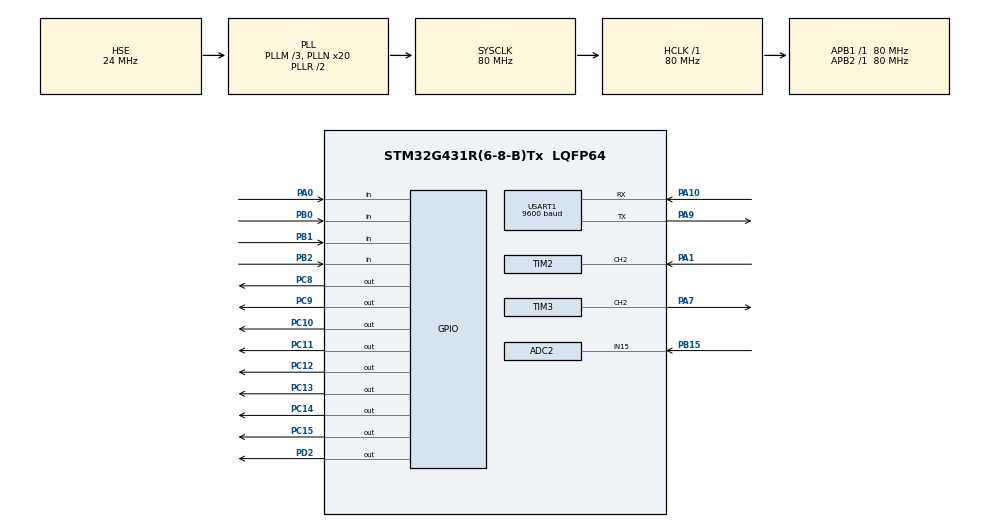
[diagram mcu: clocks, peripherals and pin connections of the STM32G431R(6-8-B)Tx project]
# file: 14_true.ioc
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ADC2.Channel-0\#ChannelRegularConversion=ADC_CHANNEL_15
ADC2.NbrOfConversionFlag=1
ADC2.OffsetNumber-0\#ChannelRegularConversion=ADC_OFFSET_NONE
ADC2.Rank-0\#ChannelRegularConversion=1
ADC2.SamplingTime-0\#ChannelRegularConversion=ADC_SAMPLETIME_2CYCLES_5
Mcu.Family=STM32G4
Mcu.Name=STM32G431R(6-8-B)Tx
Mcu.Package=LQFP64
NVIC.PriorityGroup=NVIC_PRIORITYGROUP_4
NVIC.TIM2_IRQn=true\:0\:0\:false\:false\:true\:true\:true\:true
NVIC.TIM4_IRQn=true\:0\:0\:false\:false\:true\:true\:true\:true
PA0.Signal=GPIO_Input
PA1.Signal=S_TIM2_CH2
PA10.Mode=Asynchronous
PA10.Signal=USART1_RX
PA13.Mode=Serial_Wire
PA13.Signal=SYS_JTMS-SWDIO
PA14.Mode=Serial_Wire
PA14.Signal=SYS_JTCK-SWCLK
PA7.Signal=S_TIM3_CH2
PA9.Mode=Asynchronous
PA9.Signal=USART1_TX
PB0.Signal=GPIO_Input
PB1.Signal=GPIO_Input
PB15.Mode=IN15-Single-Ended
PB15.Signal=ADC2_IN15
PB2.Signal=GPIO_Input
PC10.PinState=GPIO_PIN_SET
PC10.Signal=GPIO_Output
PC11.PinState=GPIO_PIN_SET
PC11.Signal=GPIO_Output
PC12.PinState=GPIO_PIN_SET
PC12.Signal=GPIO_Output
PC13.PinState=GPIO_PIN_SET
PC13.Signal=GPIO_Output
PC14-OSC32_IN.PinState=GPIO_PIN_SET
PC14-OSC32_IN.Signal=GPIO_Output
PC15-OSC32_OUT.PinState=GPIO_PIN_SET
PC15-OSC32_OUT.Signal=GPIO_Output
PC8.PinState=GPIO_PIN_SET
PC8.Signal=GPIO_Output
PC9.PinState=GPIO_PIN_SET
PC9.Signal=GPIO_Output
PD2.Signal=GPIO_Output
PF0-OSC_IN.Mode=HSE-External-Oscillator
PF0-OSC_IN.Signal=RCC_OSC_IN
PF1-OSC_OUT.Mode=HSE-External-Oscillator
PF1-OSC_OUT.Signal=RCC_OSC_OUT
ProjectManager.HeapSize=0x200
ProjectManager.StackSize=0x400
ProjectManager.TargetToolchain=MDK-ARM V5.32
RCC.ADC12Freq_Value=80000000
RCC.AHBFreq_Value=80000000
RCC.APB1Freq_Value=80000000
RCC.APB1TimFreq_Value=80000000
RCC.APB2Freq_Value=80000000
RCC.APB2TimFreq_Value=80000000
RCC.CortexFreq_Value=80000000
RCC.EXTERNAL_CLOCK_VALUE=12288000
RCC.HCLKFreq_Value=80000000
RCC.HSE_VALUE=24000000
RCC.HSI48_VALUE=48000000
RCC.HSI_VALUE=16000000
RCC.LSE_VALUE=32768
RCC.PLLM=RCC_PLLM_DIV3
RCC.PLLN=20
RCC.PLLSourceVirtual=RCC_PLLSOURCE_HSE
RCC.SYSCLKFreq_VALUE=80000000
RCC.SYSCLKSource=RCC_SYSCLKSOURCE_PLLCLK
RCC.USBFreq_Value=80000000
RCC.VCOOutputFreq_Value=160000000
SH.S_TIM2_CH2.0=TIM2_CH2,Input_Capture2_from_TI2
SH.S_TIM3_CH2.0=TIM3_CH2,PWM Generation2 CH2
TIM2.Channel-Input_Capture2_from_TI2=TIM_CHANNEL_2
TIM2.Prescaler=80 - 1
TIM3.Channel-PWM\ Generation2\ CH2=TIM_CHANNEL_2
TIM3.PeriodNoDither=4000 - 1
TIM3.Prescaler=10 - 1
TIM3.PulseNoDither_2=2000 - 1
TIM4.PeriodNoDither=10000 - 1
TIM4.Prescaler=80 - 1
USART1.BaudRate=9600
USART1.VirtualMode-Asynchronous=VM_ASYNC
VP_SYS_VS_DBSignals.Mode=DisableDeadBatterySignals
VP_TIM2_VS_ClockSourceINT.Mode=Internal
VP_TIM3_VS_ClockSourceINT.Mode=Internal
VP_TIM4_VS_ClockSourceINT.Mode=Internal
board=custom

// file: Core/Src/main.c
/* USER CODE BEGIN Header */
/**
  ******************************************************************************
  * @file           : main.c
  * @brief          : Main program body
  ******************************************************************************
  * @attention
  *
  * Copyright (c) 2025 STMicroelectronics.
  * All rights reserved.
  *
  * This software is licensed under terms that can be found in the LICENSE file
  * in the root directory of this software component.
  * If no LICENSE file comes with this software, it is provided AS-IS.
  *
  ******************************************************************************
  */
/* USER CODE END Header */
#include "main.h"
#include "adc.h"
#include "tim.h"
#include "usart.h"
#include "gpio.h"

void SystemClock_Config(void);
/* USER CODE BEGIN PFP */
extern void led_init(void);
extern void adc_init(void);
extern void key_init(void);
extern void pwm_init(void);
extern void lcd_init(void);

extern void led_task(void);
extern void adc_task(void);
extern void key_task(void);
extern void lcd_task(void);
extern void pwm_task(void);

uint32_t lcd_task_cnt, pwm_task_cnt;
bool lcd_task_flag, pwm_task_flag;
/* USER CODE END PFP */

int main(void)
{

  /* MCU Configuration--------------------------------------------------------*/

  /* Reset of all peripherals, Initializes the Flash interface and the Systick. */
  HAL_Init();

  /* Configure the system clock */
  SystemClock_Config();

  /* Initialize all configured peripherals */
  MX_GPIO_Init();
  MX_ADC2_Init();
  MX_TIM2_Init();
  MX_TIM3_Init();
  MX_TIM4_Init();
  MX_USART1_UART_Init();
  /* USER CODE BEGIN 2 */

	lcd_init();
	led_init();
	adc_init();
	key_init();
	pwm_init();
  /* USER CODE END 2 */

  /* Infinite loop */
  /* USER CODE BEGIN WHILE */
  while (1)
  {

	  led_task();
	  adc_task();
	  key_task();

	  if(lcd_task_flag == 1)
	  {
		  lcd_task_flag = 0;
		  lcd_task();
	  }

	  if(pwm_task_flag == 1)
	  {
		  pwm_task_flag = 0;
		  pwm_task();
	  }
    /* USER CODE END WHILE */

  }
}

void SystemClock_Config(void)
{
  RCC_OscInitTypeDef RCC_OscInitStruct = {0};
  RCC_ClkInitTypeDef RCC_ClkInitStruct = {0};

  /** Configure the main internal regulator output voltage
  */
  HAL_PWREx_ControlVoltageScaling(PWR_REGULATOR_VOLTAGE_SCALE1);

  /** Initializes the RCC Oscillators according to the specified parameters
  * in the RCC_OscInitTypeDef structure.
  */
  RCC_OscInitStruct.OscillatorType = RCC_OSCILLATORTYPE_HSE;
  RCC_OscInitStruct.HSEState = RCC_HSE_ON;
  RCC_OscInitStruct.PLL.PLLState = RCC_PLL_ON;
  RCC_OscInitStruct.PLL.PLLSource = RCC_PLLSOURCE_HSE;
  RCC_OscInitStruct.PLL.PLLM = RCC_PLLM_DIV3;
  RCC_OscInitStruct.PLL.PLLN = 20;
  RCC_OscInitStruct.PLL.PLLP = RCC_PLLP_DIV2;
  RCC_OscInitStruct.PLL.PLLQ = RCC_PLLQ_DIV2;
  RCC_OscInitStruct.PLL.PLLR = RCC_PLLR_DIV2;
  if (HAL_RCC_OscConfig(&RCC_OscInitStruct) != HAL_OK)
  {
    Error_Handler();
  }

  /** Initializes the CPU, AHB and APB buses clocks
  */
  RCC_ClkInitStruct.ClockType = RCC_CLOCKTYPE_HCLK|RCC_CLOCKTYPE_SYSCLK
                              |RCC_CLOCKTYPE_PCLK1|RCC_CLOCKTYPE_PCLK2;
  RCC_ClkInitStruct.SYSCLKSource = RCC_SYSCLKSOURCE_PLLCLK;
  RCC_ClkInitStruct.AHBCLKDivider = RCC_SYSCLK_DIV1;
  RCC_ClkInitStruct.APB1CLKDivider = RCC_HCLK_DIV1;
  RCC_ClkInitStruct.APB2CLKDivider = RCC_HCLK_DIV1;

  if (HAL_RCC_ClockConfig(&RCC_ClkInitStruct, FLASH_LATENCY_2) != HAL_OK)
  {
    Error_Handler();
  }
}

void Error_Handler(void)
{
  __disable_irq();
  while (1)
  {
  }
}
